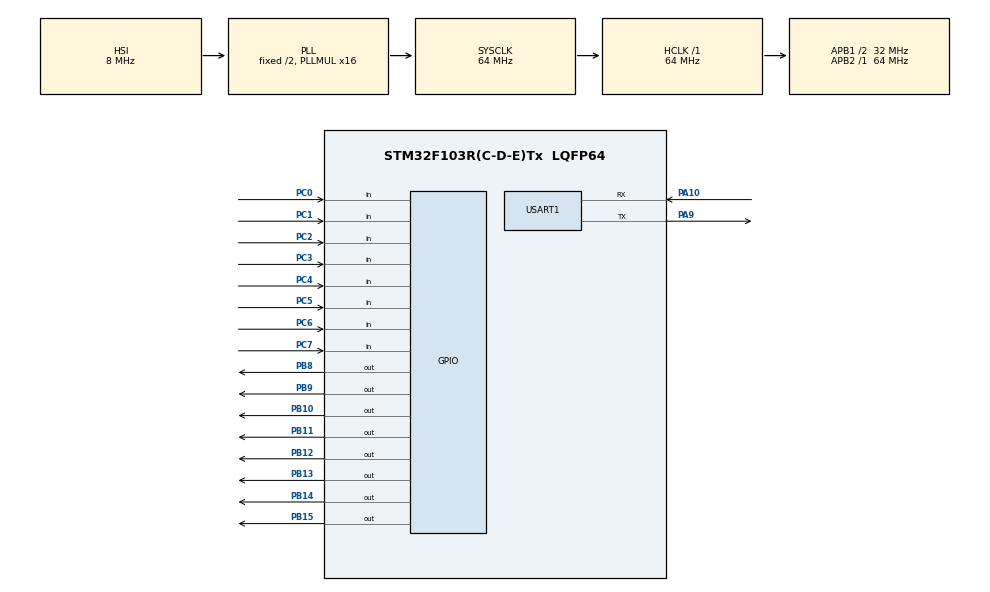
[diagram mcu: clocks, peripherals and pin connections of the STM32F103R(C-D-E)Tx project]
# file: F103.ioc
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Dma.Request0=USART1_RX
Dma.USART1_RX.0.Direction=DMA_PERIPH_TO_MEMORY
Dma.USART1_RX.0.Instance=DMA1_Channel5
Dma.USART1_RX.0.MemDataAlignment=DMA_MDATAALIGN_BYTE
Dma.USART1_RX.0.MemInc=DMA_MINC_ENABLE
Dma.USART1_RX.0.Mode=DMA_NORMAL
Dma.USART1_RX.0.PeriphDataAlignment=DMA_PDATAALIGN_BYTE
Dma.USART1_RX.0.PeriphInc=DMA_PINC_DISABLE
Dma.USART1_RX.0.Priority=DMA_PRIORITY_HIGH
Mcu.Family=STM32F1
Mcu.Name=STM32F103R(C-D-E)Tx
Mcu.Package=LQFP64
NVIC.DMA1_Channel5_IRQn=true\:0\:0\:true\:false\:true\:false\:true
NVIC.PriorityGroup=NVIC_PRIORITYGROUP_4
NVIC.TIM7_IRQn=true\:5\:0\:true\:false\:true\:true\:true
NVIC.USART1_IRQn=true\:5\:0\:true\:false\:true\:true\:true
PA10.Mode=Asynchronous
PA10.Signal=USART1_RX
PA9.Mode=Asynchronous
PA9.Signal=USART1_TX
PB10.Signal=GPIO_Output
PB11.Signal=GPIO_Output
PB12.Signal=GPIO_Output
PB13.Signal=GPIO_Output
PB14.Signal=GPIO_Output
PB15.Signal=GPIO_Output
PB8.Signal=GPIO_Output
PB9.Signal=GPIO_Output
PC0.Signal=GPIO_Input
PC1.Signal=GPIO_Input
PC2.Signal=GPIO_Input
PC3.Signal=GPIO_Input
PC4.Signal=GPIO_Input
PC5.Signal=GPIO_Input
PC6.Signal=GPIO_Input
PC7.Signal=GPIO_Input
ProjectManager.HeapSize=0x400
ProjectManager.StackSize=0x400
ProjectManager.TargetToolchain=MDK-ARM V5
RCC.AHBFreq_Value=64000000
RCC.APB1CLKDivider=RCC_HCLK_DIV2
RCC.APB1Freq_Value=32000000
RCC.APB1TimFreq_Value=64000000
RCC.APB2Freq_Value=64000000
RCC.APB2TimFreq_Value=64000000
RCC.HCLKFreq_Value=64000000
RCC.PLLMUL=RCC_PLL_MUL16
RCC.SYSCLKFreq_VALUE=64000000
RCC.SYSCLKSource=RCC_SYSCLKSOURCE_PLLCLK
RCC.USBFreq_Value=64000000
TIM7.AutoReloadPreload=TIM_AUTORELOAD_PRELOAD_ENABLE
TIM7.Period=9
TIM7.Prescaler=7199
USART1.VirtualMode=VM_ASYNC
VP_SYS_VS_ND.Mode=No_Debug
VP_TIM7_VS_ClockSourceINT.Mode=Enable_Timer
board=custom

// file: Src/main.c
/* USER CODE BEGIN Header */
/**
  ******************************************************************************
  * @file           : main.c
  * @brief          : Main program body
  ******************************************************************************
  * @attention
  *
  * <h2><center>&copy; Copyright (c) 2020 STMicroelectronics.
  * All rights reserved.</center></h2>
  *
  * This software component is licensed by ST under BSD 3-Clause license,
  * the "License"; You may not use this file except in compliance with the
  * License. You may obtain a copy of the License at:
  *                        opensource.org/licenses/BSD-3-Clause
  *
  ******************************************************************************
  */
/* USER CODE END Header */

#include "main.h"
#include "dma.h"
#include "tim.h"
#include "usart.h"
#include "gpio.h"

/* USER CODE BEGIN PTD */
IO io_array[8];
/* USER CODE END PTD */

void SystemClock_Config(void);
/* USER CODE BEGIN PFP */
void init(void)
{
	uint8_t i=0,j=0;
	//状态全部拉高
	for(i=0;i<8;i++)
	{
		for(j=0;j<8;j++)
		{
			io_array[i].status[j]=1;
		}
	}
	//初始化各个数组元素的值
	//1,2,3LED +
	io_array[0].type=1;
	io_array[0].csg=GPIOB;
	io_array[0].num=GPIO_PIN_10;

	//1,2,3 LED -
	io_array[1].type=1;
	io_array[1].csg=GPIOB;
	io_array[1].num=GPIO_PIN_11;

	//4, 5, 6 LED +
	io_array[2].type=1;
	io_array[2].csg=GPIOB;
	io_array[2].num=GPIO_PIN_12;

	//4 5 6 LED -
	io_array[3].type=1;
	io_array[3].csg=GPIOB;
	io_array[3].num=GPIO_PIN_13;

	// 7 8 LED +
	io_array[4].type=1;
	io_array[4].csg=GPIOB;
	io_array[4].num=GPIO_PIN_14;

	//7 8 LED -
	io_array[5].type=1;
	io_array[5].csg=GPIOB;
	io_array[5].num=GPIO_PIN_15;

	//钮子开关输入
	io_array[6].type=0;
	io_array[6].csg=GPIOB;
	io_array[6].num=GPIO_PIN_8;

	//金属开关
	io_array[7].type=0;
	io_array[7].csg=GPIOB;
	io_array[7].num=GPIO_PIN_9;

	//初始化IO量，所有灯置于熄灭状态
	//GPIOC置于输出模式
	GPIOC_OUTPUT();
	__NOP();
	__NOP();
	__NOP();
	GPIOC->ODR|=0x00FF;
	__NOP();
	__NOP();
	__NOP();
	//573 锁存
	for(i=0;i<6;i++)
	{
		HAL_GPIO_WritePin(io_array[i].csg,io_array[i].num,GPIO_PIN_SET);
		__NOP();
		__NOP();
		HAL_GPIO_WritePin(io_array[i].csg,io_array[i].num,GPIO_PIN_RESET);
	}

	//获取开关的初始状态，记录进数组
	HAL_GPIO_WritePin(GPIOB,GPIO_PIN_8,GPIO_PIN_SET);   //钮子开关245传输禁止
	HAL_GPIO_WritePin(GPIOB,GPIO_PIN_9,GPIO_PIN_SET);   //金属开关245传输禁止
	GPIOC_INPUT();
	//取得钮子开关状态
	HAL_GPIO_WritePin(GPIOB,GPIO_PIN_8,GPIO_PIN_RESET);
	__NOP();
	for(i=0;i<8;i++)
	{
		io_array[6].status[i]=(uint8_t)HAL_GPIO_ReadPin(io_array[6].csg,1<<i);
	}
	HAL_GPIO_WritePin(GPIOB,GPIO_PIN_8,GPIO_PIN_SET);

	//取得金属开关的初始状态
	HAL_GPIO_WritePin(GPIOB,GPIO_PIN_9,GPIO_PIN_RESET);
	__NOP();
	for(i=0;i<8;i++)
	{
		io_array[7].status[i]=(uint8_t)HAL_GPIO_ReadPin(io_array[7].csg,1<<i);
	}
	HAL_GPIO_WritePin(GPIOB,GPIO_PIN_8,GPIO_PIN_SET);
	;
	return;
}
/* USER CODE END PFP */

int main(void)
{

  /* MCU Configuration--------------------------------------------------------*/

  /* Reset of all peripherals, Initializes the Flash interface and the Systick. */
  HAL_Init();

  /* Configure the system clock */
  SystemClock_Config();

  /* Initialize all configured peripherals */
  MX_GPIO_Init();
  MX_DMA_Init();
  MX_USART1_UART_Init();
  MX_TIM7_Init();
  /* USER CODE BEGIN 2 */
	init();
  /* USER CODE END 2 */

  /* Infinite loop */
  /* USER CODE BEGIN WHILE */
  while (1)
  {
		;
    /* USER CODE END WHILE */

  }
}

void SystemClock_Config(void)
{
  RCC_OscInitTypeDef RCC_OscInitStruct = {0};
  RCC_ClkInitTypeDef RCC_ClkInitStruct = {0};

  /** Initializes the CPU, AHB and APB busses clocks
  */
  RCC_OscInitStruct.OscillatorType = RCC_OSCILLATORTYPE_HSI;
  RCC_OscInitStruct.HSIState = RCC_HSI_ON;
  RCC_OscInitStruct.HSICalibrationValue = RCC_HSICALIBRATION_DEFAULT;
  RCC_OscInitStruct.PLL.PLLState = RCC_PLL_ON;
  RCC_OscInitStruct.PLL.PLLSource = RCC_PLLSOURCE_HSI_DIV2;
  RCC_OscInitStruct.PLL.PLLMUL = RCC_PLL_MUL16;
  if (HAL_RCC_OscConfig(&RCC_OscInitStruct) != HAL_OK)
  {
    Error_Handler();
  }
  /** Initializes the CPU, AHB and APB busses clocks
  */
  RCC_ClkInitStruct.ClockType = RCC_CLOCKTYPE_HCLK|RCC_CLOCKTYPE_SYSCLK
                              |RCC_CLOCKTYPE_PCLK1|RCC_CLOCKTYPE_PCLK2;
  RCC_ClkInitStruct.SYSCLKSource = RCC_SYSCLKSOURCE_PLLCLK;
  RCC_ClkInitStruct.AHBCLKDivider = RCC_SYSCLK_DIV1;
  RCC_ClkInitStruct.APB1CLKDivider = RCC_HCLK_DIV2;
  RCC_ClkInitStruct.APB2CLKDivider = RCC_HCLK_DIV1;

  if (HAL_RCC_ClockConfig(&RCC_ClkInitStruct, FLASH_LATENCY_2) != HAL_OK)
  {
    Error_Handler();
  }
}

void Error_Handler(void)
{
}

/************************ (C) COPYRIGHT STMicroelectronics *****END OF FILE****/
